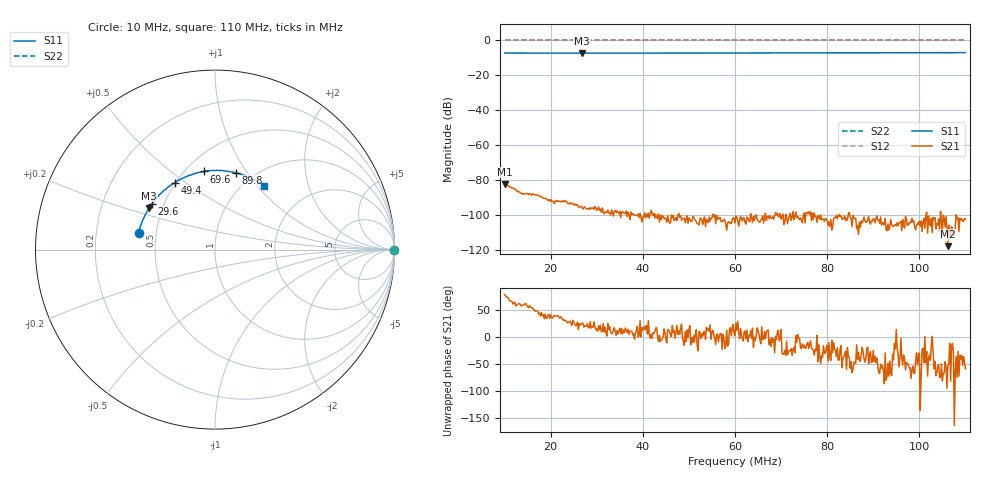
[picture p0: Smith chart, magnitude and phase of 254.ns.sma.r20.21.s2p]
! Anritsu VNA Master:  Model: MS2036C/10/77
! SN:  1601066
! /card0/usr/254.ns.sma.r20.21.s2p
! Existing Calibration Information:
! TYPE:  Current Settings,  Active Cal Settings
! TIME:  12/20/2017 01:45:36 PM,  12/20/2017 01:40:30 PM
! INTERNAL TEMP:  46.5 C,  46.0 C
! # POINTS:  501,  501
! START FREQ:  10.000 MHz,  10.000 MHz
! STOP FREQ:  110.000 MHz,  110.000 MHz
! SOURCE POWER:  High,  High
! IFBW:  100 Hz,  100 Hz
! AVG FACTOR:  1 ,  1
! REF PLANE 1:  0 mm,  0 mm
! REF PLANE 2:  0 mm,  0 mm
! CAL TYPE:  Full S11,  Full S11
! CAL METHOD:  SOLT,  SOLT
! CAL LINE TYPE:  Coax,  Coax
! DUT PORT 1:  N-Conn(F),  N-Conn(F)
! DUT PORT 2:  K-Conn(F),  K-Conn(F)
! CAL STATUS:  OK: Accuracy High,  --
# GHZ S DB R 50.0
! FREQ.GHZ  S11DB  S11A  S21DB  S21A  S12DB  S12A  S22DB  S22A
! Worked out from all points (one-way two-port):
!   501 points, 10 MHz to 110 MHz, reference 50 ohm
!   highest |S21| = -82.23 dB at 10 MHz (marker M1); lowest = -117.9 dB at 106.2 MHz (marker M2)
!   lowest |S11| = -7.3 dB at 26.8 MHz (marker M3), VSWR 2.53, Z = 21.2 + j12.1 ohm
!   |S11| at or under -10 dB: nowhere
!   |S22| runs from 0.0 to 0.0 dB; largest |S21 - S12| = 1
!   S11 on the Smith chart (normalised r, x): 10 MHz: 0.40, +0.09; 29.6 MHz: 0.43, +0.27; 49.4 MHz: 0.49, +0.45; 69.6 MHz: 0.61, +0.66; 89.8 MHz: 0.83, +0.89; 110 MHz: 1.22, +1.08
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0.01  -7.21 167.8  -82.23 78.0  0.00 0.0  0.00 0.0
0.0126  -7.22 164.7  -85.99 58.4  0.00 0.0  0.00 0.0
0.018  -7.24 158.1  -89.43 44.7  0.00 0.0  0.00 0.0
0.0222  -7.25 153.2  -92.47 36.8  0.00 0.0  0.00 0.0
0.0268  -7.27 147.7  -95.59 24.7  0.00 0.0  0.00 0.0
0.0296  -7.24 144.5  -95.13 17.7  0.00 0.0  0.00 0.0
0.0364  -7.23 136.2  -97.74 12.5  0.00 0.0  0.00 0.0
0.0412  -7.22 130.8  -98.91 29.9  0.00 0.0  0.00 0.0
0.0434  -7.23 128.1  -99.43 -9.0  0.00 0.0  0.00 0.0
0.0494  -7.23 121.1  -102.16 -9.3  0.00 0.0  0.00 0.0
0.0548  -7.19 114.8  -101.77 -4.7  0.00 0.0  0.00 0.0
0.06  -7.19 108.9  -104.61 1.3  0.00 0.0  0.00 0.0
0.0628  -7.16 105.7  -101.74 -9.0  0.00 0.0  0.00 0.0
0.0696  -7.14 97.9  -101.09 -7.8  0.00 0.0  0.00 0.0
0.0736  -7.12 93.4  -100.84 3.7  0.00 0.0  0.00 0.0
0.0768  -7.11 89.7  -98.90 -22.6  0.00 0.0  0.00 0.0
0.0818  -7.09 84.1  -101.48 -25.8  0.00 0.0  0.00 0.0
0.0898  -7.07 75.0  -103.75 -46.5  0.00 0.0  0.00 0.0
0.0934  -7.05 70.9  -108.56 -73.1  0.00 0.0  0.00 0.0
0.0992  -7.02 64.5  -108.54 -44.1  0.00 0.0  0.00 0.0
0.1062  -6.99 56.9  -117.86 -52.2  0.00 0.0  0.00 0.0
0.11  -6.98 52.7  -102.52 -59.6  0.00 0.0  0.00 0.0
